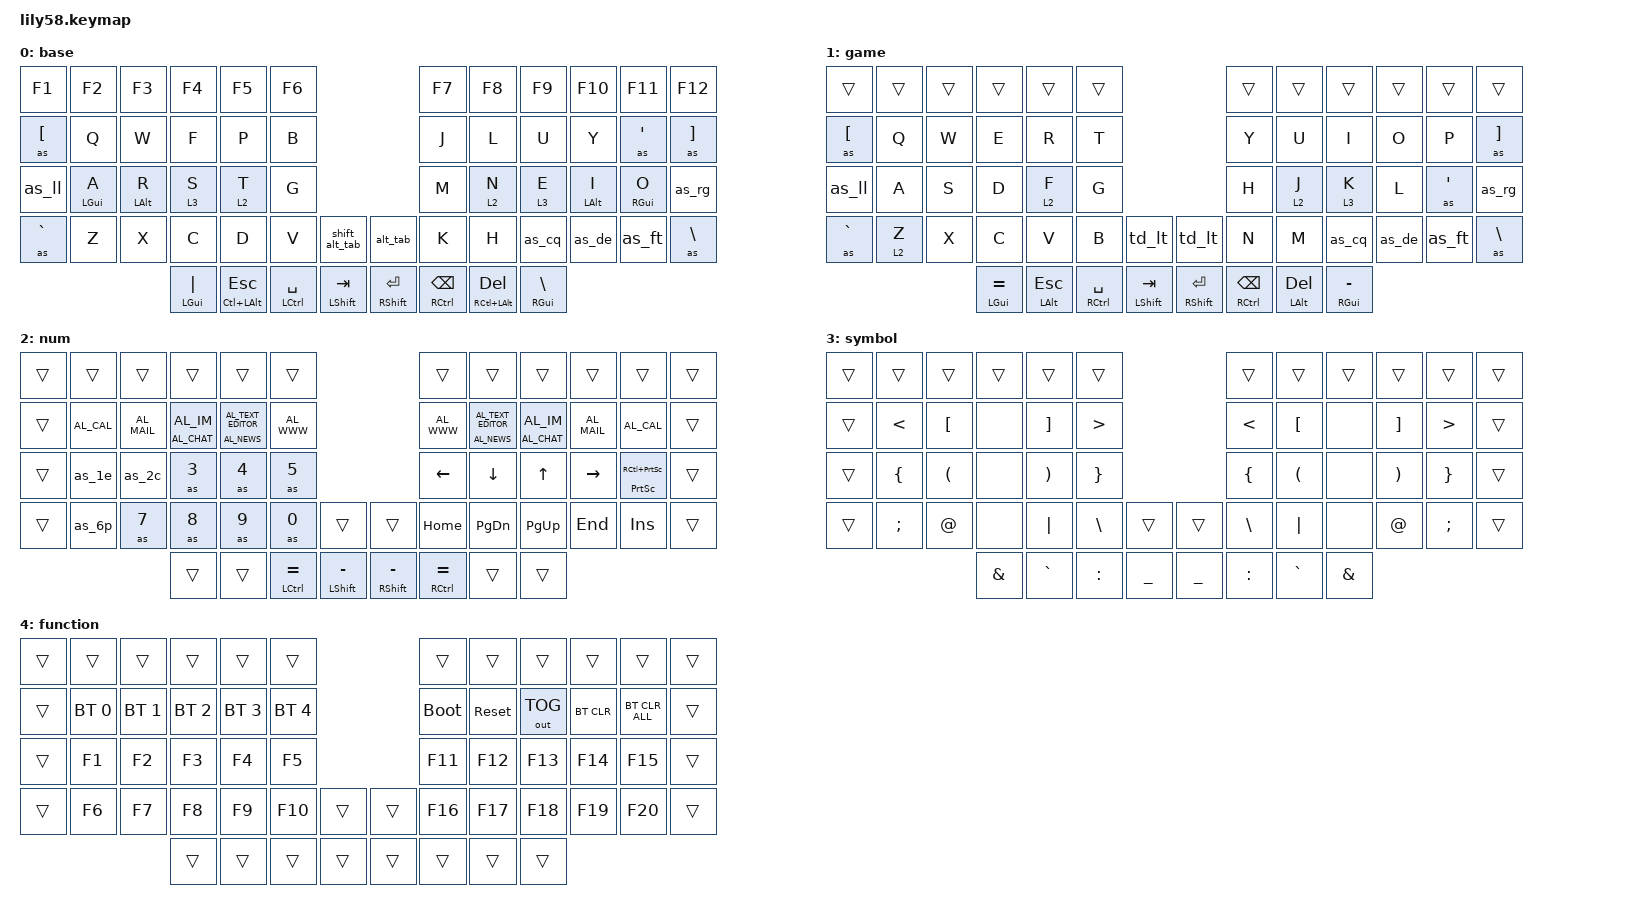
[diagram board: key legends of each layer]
// dt-formatter: multilineListCommaStyle="leading"

#include <dt-bindings/zmk/mouse.h>
#include <behaviors.dtsi>
#include <dt-bindings/zmk/bt.h>
#include <dt-bindings/zmk/keys.h>
#include <dt-bindings/zmk/outputs.h>

&lt {
    tapping-term-ms = <150>;
    quick-tap-ms = <200>;
    flavor = "balanced";
    require-prior-idle-ms = <125>;
};

&mt {
    tapping-term-ms = <150>;
    quick-tap-ms = <200>;
    flavor = "balanced";
    require-prior-idle-ms = <125>;
};

/ {
    behaviors {
        hml: home_row_mod_left {
            display-name = "Home Row Mod (Left)";
            compatible = "zmk,behavior-hold-tap";
            #binding-cells = <2>;
            bindings = <&kp>, <&kp>;

            tapping-term-ms = <280>;
            quick-tap-ms = <175>;
            require-prior-idle-ms = <150>;
            flavor = "balanced";
            hold-trigger-on-release;
            hold-trigger-key-positions = <5 7 6 8 9 19 30 31 18 17 16 15 26 28 27 29 37 36 35 34 33 32>;
        };

        hmr: home_row_mod_right {
            display-name = "Home Row Mod (Right)";
            compatible = "zmk,behavior-hold-tap";
            bindings = <&kp>, <&kp>;

            #binding-cells = <2>;
            tapping-term-ms = <280>;
            quick-tap-ms = <175>;
            require-prior-idle-ms = <150>;
            flavor = "balanced";
            hold-trigger-on-release;
            hold-trigger-key-positions = <0 1 2 3 4 14 13 12 11 10 20 21 22 23 24 25 32 33 34 35 36 37>;
        };

        hll: home_row_layer_tap_left {
            compatible = "zmk,behavior-hold-tap";
            bindings = <&mo>, <&kp>;

            #binding-cells = <2>;
            tapping-term-ms = <280>;
            quick-tap-ms = <175>;
            require-prior-idle-ms = <150>;
            flavor = "balanced";
            hold-trigger-on-release;
            hold-trigger-key-positions = <5 6 7 9 31 19 29 18 17 8 16 15 26 27 28 30 37 36 35 34 33 32>;
        };

        hlr: home_row_layer_tap_right {
            compatible = "zmk,behavior-hold-tap";
            bindings = <&mo>, <&kp>;

            #binding-cells = <2>;
            tapping-term-ms = <280>;
            quick-tap-ms = <175>;
            require-prior-idle-ms = <150>;
            flavor = "balanced";
            hold-trigger-on-release;
            hold-trigger-key-positions = <4 3 2 1 0 20 10 11 21 12 13 14 23 22 24 25 32 33 34 35 36 37>;
        };

        mm_cq: mod_morph_cmma_qmark {
            display-name = "Comma-Question Mark";
            compatible = "zmk,behavior-mod-morph";
            #binding-cells = <0>;
            bindings = <&kp COMMA>, <&kp QMARK>;

            mods = <(MOD_LSFT|MOD_RSFT)>;
        };

        mm_de: mod_morph_dot_excl {
            display-name = "Period-Exclamation Mark";
            compatible = "zmk,behavior-mod-morph";
            #binding-cells = <0>;
            bindings = <&kp DOT>, <&kp EXCL>;

            mods = <(MOD_LSFT|MOD_RSFT)>;
        };

        mm_ft: mod_morph_fslh_tild {
            display-name = "Forward Slash-Tilde";
            compatible = "zmk,behavior-mod-morph";
            #binding-cells = <0>;
            bindings = <&kp FSLH>, <&kp TILDE>;

            mods = <(MOD_LSFT|MOD_RSFT)>;
        };

        mm_ll: mod_morph_lpar_lt {
            compatible = "zmk,behavior-mod-morph";
            bindings = <&kp LPAR>, <&kp LT>;

            #binding-cells = <0>;
            mods = <(MOD_LSFT|MOD_RSFT)>;
        };

        mm_rg: mod_morph_rpar_gt {
            compatible = "zmk,behavior-mod-morph";
            bindings = <&kp RPAR>, <&kp GT>;

            #binding-cells = <0>;
            mods = <(MOD_LSFT|MOD_RSFT)>;
        };

        ht_as: hold_tap_autoshift {
            compatible = "zmk,behavior-hold-tap";
            bindings = <&sh>, <&kp>;

            #binding-cells = <2>;
            tapping-term-ms = <150>;
            quick-tap-ms = <200>;
            require-prior-idle-ms = <125>;
            flavor = "tap-preferred";
        };

        ht_cq: hold_tap_cmma_qmark {
            display-name = "Comma-Question Mark (Hold-Tap)";
            compatible = "zmk,behavior-hold-tap";
            #binding-cells = <2>;
            bindings = <&kp>, <&mm_cq>;

            tapping-term-ms = <150>;
            quick-tap-ms = <0>;
            flavor = "tap-preferred";
        };

        ht_de: hold_tap_dot_excl {
            display-name = "Period-Exclamation Mark (Hold-Tap)";
            compatible = "zmk,behavior-hold-tap";
            #binding-cells = <2>;
            bindings = <&kp>, <&mm_de>;

            tapping-term-ms = <150>;
            quick-tap-ms = <0>;
            flavor = "tap-preferred";
        };

        ht_ft: hold_tap_fslh_tild {
            display-name = "Forward Slash-Tilde (Hold-Tap)";
            compatible = "zmk,behavior-hold-tap";
            #binding-cells = <2>;
            bindings = <&kp>, <&mm_ft>;

            tapping-term-ms = <150>;
            quick-tap-ms = <0>;
            flavor = "tap-preferred";
        };

        ht_ll: hold_tap_lpar_lt {
            compatible = "zmk,behavior-hold-tap";
            bindings = <&kp>, <&mm_ll>;

            #binding-cells = <2>;
            tapping-term-ms = <150>;
            quick-tap-ms = <0>;
            flavor = "tap-preferred";
        };

        ht_rg: hold_tap_rpar_gt {
            compatible = "zmk,behavior-hold-tap";
            bindings = <&kp>, <&mm_rg>;

            #binding-cells = <2>;
            tapping-term-ms = <150>;
            quick-tap-ms = <0>;
            flavor = "tap-preferred";
        };

        mm_aa: mod_morph_at_amps {
            compatible = "zmk,behavior-mod-morph";
            bindings = <&kp AT>, <&kp AMPS>;

            #binding-cells = <0>;
            mods = <(MOD_LSFT|MOD_RSFT)>;
        };

        ht_aa: hold_tap_at_amps {
            compatible = "zmk,behavior-hold-tap";
            bindings = <&kp>, <&mm_aa>;

            #binding-cells = <2>;
            tapping-term-ms = <150>;
            quick-tap-ms = <0>;
            flavor = "tap-preferred";
        };

        mm_mh: mod_morph_minus_hash {
            compatible = "zmk,behavior-mod-morph";
            bindings = <&kp MINUS>, <&kp HASH>;

            #binding-cells = <0>;
            mods = <(MOD_LSFT|MOD_RSFT)>;
        };

        ht_mh: hold_tap_minus_hash {
            compatible = "zmk,behavior-hold-tap";
            bindings = <&kp>, <&mm_mh>;

            #binding-cells = <2>;
            tapping-term-ms = <150>;
            quick-tap-ms = <0>;
            flavor = "tap-preferred";
        };

        mm_sp: mod_morph_star_prcnt {
            compatible = "zmk,behavior-mod-morph";
            bindings = <&kp STAR>, <&kp PRCNT>;

            #binding-cells = <0>;
            mods = <(MOD_LSFT|MOD_RSFT)>;
        };

        ht_sp: hold_tap_star_prcnt {
            compatible = "zmk,behavior-hold-tap";
            bindings = <&kp>, <&mm_sp>;

            #binding-cells = <2>;
            tapping-term-ms = <150>;
            quick-tap-ms = <0>;
            flavor = "tap-preferred";
        };

        mm_1e: mod_morph_1_equal {
            compatible = "zmk,behavior-mod-morph";
            bindings = <&kp N1>, <&kp EQUAL>;

            #binding-cells = <0>;
            mods = <(MOD_LSFT|MOD_RSFT)>;
        };

        ht_1e: hold_tap_1_equal {
            compatible = "zmk,behavior-hold-tap";
            bindings = <&kp>, <&mm_1e>;

            #binding-cells = <2>;
            tapping-term-ms = <150>;
            quick-tap-ms = <0>;
            flavor = "tap-preferred";
        };

        mm_2c: mod_morph_2_caret {
            compatible = "zmk,behavior-mod-morph";
            bindings = <&kp N2>, <&kp CARET>;

            #binding-cells = <0>;
            mods = <(MOD_LSFT|MOD_RSFT)>;
        };

        ht_2c: hold_tap_2_caret {
            compatible = "zmk,behavior-hold-tap";
            bindings = <&kp>, <&mm_2c>;

            #binding-cells = <2>;
            tapping-term-ms = <150>;
            quick-tap-ms = <0>;
            flavor = "tap-preferred";
        };

        mm_6p: mod_morph_6_plus {
            compatible = "zmk,behavior-mod-morph";
            bindings = <&kp N6>, <&kp PLUS>;

            #binding-cells = <0>;
            mods = <(MOD_LSFT|MOD_RSFT)>;
        };

        ht_6p: hold_tap_6_plus {
            compatible = "zmk,behavior-hold-tap";
            bindings = <&kp>, <&mm_6p>;

            #binding-cells = <2>;
            tapping-term-ms = <150>;
            quick-tap-ms = <0>;
            flavor = "tap-preferred";
            label = "HT_6P";
        };

        td_lt: tap_dance_layer_toggle {
            compatible = "zmk,behavior-tap-dance";
            #binding-cells = <0>;
            bindings = <&sl 2>, <&sl 3>;
        };
    };

    macros {
        as: autoshift {
            display-name = "Autoshift";
            compatible = "zmk,behavior-macro-one-param";
            #binding-cells = <1>;
            bindings
                = <&macro_press>
                , <&macro_param_1to1 &macro_param_1to2 &ht_as MACRO_PLACEHOLDER MACRO_PLACEHOLDER>
                , <&macro_pause_for_release>
                , <&macro_release>
                , <&macro_param_1to1 &macro_param_1to2 &ht_as MACRO_PLACEHOLDER MACRO_PLACEHOLDER>
                ;
        };

        sh: shifted_keypress {
            display-name = "Shifted Keypress";
            compatible = "zmk,behavior-macro-one-param";
            #binding-cells = <1>;
            bindings
                = <&macro_press>
                , <&kp LSHFT &macro_param_1to1 &kp MACRO_PLACEHOLDER>
                , <&macro_pause_for_release>
                , <&macro_release>
                , <&macro_param_1to1 &kp MACRO_PLACEHOLDER &kp LSHFT>
                ;
        };

        as_cq: autoshift_cmma_qmark {
            display-name = "Comma-Question Mark (Autoshift)";
            compatible = "zmk,behavior-macro";
            #binding-cells = <0>;
            bindings
                = <&macro_press>
                , <&ht_cq QMARK 0>
                , <&macro_pause_for_release>
                , <&macro_release>
                , <&ht_cq QMARK 0>
                ;
        };

        as_de: autoshift_dot_excl {
            display-name = "Period-Exclamation Mark (Autoshift)";
            compatible = "zmk,behavior-macro";
            #binding-cells = <0>;
            bindings
                = <&macro_press>
                , <&ht_de EXCL 0>
                , <&macro_pause_for_release>
                , <&macro_release>
                , <&ht_de EXCL 0>
                ;
        };

        as_ft: autoshift_fslh_tild {
            display-name = "Forward Slash-Tilde (Autoshift)";
            compatible = "zmk,behavior-macro";
            #binding-cells = <0>;
            bindings
                = <&macro_press>
                , <&ht_ft TILDE 0>
                , <&macro_pause_for_release>
                , <&macro_release>
                , <&ht_ft TILDE 0>
                ;
        };

        as_ll: autoshift_lpar_lt {
            display-name = "Left Parenthesis-Less Than (Autoshift)";
            compatible = "zmk,behavior-macro";
            #binding-cells = <0>;
            bindings
                = <&macro_press>
                , <&ht_ll LT 0>
                , <&macro_pause_for_release>
                , <&macro_release>
                , <&ht_ll LT 0>
                ;
        };

        as_rg: autoshift_rpar_gt {
            display-name = "Right Parenthesis-Greater Than (Autoshift)";
            compatible = "zmk,behavior-macro";
            #binding-cells = <0>;
            bindings
                = <&macro_press>
                , <&ht_rg GT 0>
                , <&macro_pause_for_release>
                , <&macro_release>
                , <&ht_rg GT 0>
                ;
        };

        alt_tab: alt_tab {
            compatible = "zmk,behavior-macro";
            #binding-cells = <0>;
            bindings
                = <&macro_press>
                , <&kp LALT>
                , <&macro_tap>
                , <&kp TAB>
                , <&macro_pause_for_release>
                , <&macro_release>
                , <&kp LALT>
                ;

            label = "ALT_TAB";
        };

        shift_alt_tab: shift_alt_tab {
            compatible = "zmk,behavior-macro";
            #binding-cells = <0>;
            bindings
                = <&macro_press>
                , <&kp LS(LALT)>
                , <&macro_tap>
                , <&kp TAB>
                , <&macro_pause_for_release>
                , <&macro_release>
                , <&kp LS(LALT)>
                ;

            label = "SHIFT_ALT_TAB";
        };

        as_aa: autoshift_at_amps {
            compatible = "zmk,behavior-macro";
            #binding-cells = <0>;
            bindings
                = <&macro_press>
                , <&ht_aa AMPS 0>
                , <&macro_pause_for_release>
                , <&macro_release>
                , <&ht_aa AMPS 0>
                ;
        };

        as_mh: autoshift_minus_hash {
            compatible = "zmk,behavior-macro";
            #binding-cells = <0>;
            bindings
                = <&macro_press>
                , <&ht_mh HASH 0>
                , <&macro_pause_for_release>
                , <&macro_release>
                , <&ht_mh HASH 0>
                ;
        };

        as_sp: autoshift_star_prcnt {
            compatible = "zmk,behavior-macro";
            #binding-cells = <0>;
            bindings
                = <&macro_press>
                , <&ht_sp PRCNT 0>
                , <&macro_pause_for_release>
                , <&macro_release>
                , <&ht_sp PRCNT 0>
                ;
        };

        as_1e: autoshift_1_equal {
            compatible = "zmk,behavior-macro";
            #binding-cells = <0>;
            bindings
                = <&macro_press>
                , <&ht_1e EQUAL 0>
                , <&macro_pause_for_release>
                , <&macro_release>
                , <&ht_1e EQUAL 0>
                ;
        };

        as_2c: autoshift_2_caret {
            compatible = "zmk,behavior-macro";
            #binding-cells = <0>;
            bindings
                = <&macro_press>
                , <&ht_2c CARET 0>
                , <&macro_pause_for_release>
                , <&macro_release>
                , <&ht_2c CARET 0>
                ;
        };

        as_6p: as_6p {
            compatible = "zmk,behavior-macro";
            #binding-cells = <0>;
            bindings
                = <&macro_press>
                , <&ht_6p PLUS 0>
                , <&macro_pause_for_release>
                , <&macro_release>
                , <&ht_6p PLUS 0>
                ;

            label = "AS_6P";
        };
    };

    combos {
        compatible = "zmk,combos";

        to_base {
            bindings = <&to 0>;
            key-positions = <0 1>;
            layers = <1 2 3 4>;
        };

        to_game {
            bindings = <&to 1>;
            key-positions = <2 1>;
            layers = <0>;
        };

        l_fun {
            bindings = <&sl 4>;
            key-positions = <2 4>;
            layers = <0>;
        };

        r_fun {
            bindings = <&sl 4>;
            key-positions = <7 9>;
            layers = <0>;
        };

        l_launcher {
            bindings = <&kp LG(SPACE)>;
            key-positions = <26 28>;
        };

        r_launcher {
            bindings = <&kp RG(SPACE)>;
            key-positions = <31 33>;
        };
    };

    keymap {
        compatible = "zmk,keymap";

        base {
            display-name = "base";

            // ┏━━━━━━━┳━━━━━━━┳━━━━━━━┳━━━━━━━┳━━━━━━━┳━━━━━━━┓                 ┏━━━━━━━┳━━━━━━━┳━━━━━━━┳━━━━━━━┳━━━━━━━┳━━━━━━━┓
            // ┃   -   ┃   1   ┃   2   ┃   3   ┃   4   ┃   5   ┃                 ┃   6   ┃   7   ┃   8   ┃   9   ┃   0   ┃   =   ┃
            // ┣━━━━━━━┣━━━━━━━╋━━━━━━━╋━━━━━━━╋━━━━━━━╋━━━━━━━┫                 ┣━━━━━━━╋━━━━━━━╋━━━━━━━╋━━━━━━━╋━━━━━━━╋━━━━━━━┫
            // ┃   [   ┃   Q   ┃   W   ┃   F   ┃   P   ┃   B   ┃                 ┃   J   ┃   L   ┃   U   ┃   Y   ┃   '   ┃   ]   ┃
            // ┣━━━━━━━┣━━━━━━━╋━━━━━━━╋━━━━━━━╋━━━━━━━╋━━━━━━━┫                 ┣━━━━━━━╋━━━━━━━╋━━━━━━━╋━━━━━━━╋━━━━━━━╋━━━━━━━┫
            // ┃   (   ┃   A   ┃   R   ┃   S   ┃   T   ┃   G   ┃                 ┃   M   ┃   N   ┃   E   ┃   I   ┃   O   ┃   )   ┃
            // ╋━━━━━━━╋━━━━━━━╋━━━━━━━╋━━━━━━━╋━━━━━━━╋━━━━━━━╋━━━━━━━┓ ┏━━━━━━━╋━━━━━━━╋━━━━━━━╋━━━━━━━╋━━━━━━━╋━━━━━━━╋━━━━━━━┫
            // ┃   `   ┃   Z   ┃   X   ┃   C   ┃   D   ┃   V   ┃ ⌥-TAB ┃ ┃ ⌘-SPC ┃   K   ┃   H   ┃   ,   ┃   .   ┃   /   ┃   \   ┃
            // ┗━━━━━━━┻━━━━━━━┻━━━━━━━╋━━━━━━━╋━━━━━━━╋━━━━━━━╋━━━━━━━┫ ┣━━━━━━━╋━━━━━━━╋━━━━━━━╋━━━━━━━╋━━━━━━━┻━━━━━━━┻━━━━━━━┛
            //                         ┃   |   ┃  ESC  ┃  SPC  ┃  TAB  ┃ ┃  RET  ┃  BSP  ┃  DEL  ┃   \   ┃
            //                         ┃ (GUI) ┃ (ALT) ┃ (CTL) ┃ (SFT) ┃ ┃ (SFT) ┃ (CTL) ┃ (ALT) ┃ (GUI) ┃
            //                         ┗━━━━━━━┻━━━━━━━┻━━━━━━━┻━━━━━━━┛ ┗━━━━━━━┻━━━━━━━┻━━━━━━━┻━━━━━━━┛

            bindings = <
&kp F1     &kp F2       &kp F3       &kp F4         &kp F5            &kp F6                                            &kp F7          &kp F8            &kp F9         &kp F10      &kp F11      &kp F12
&as LBKT   &kp Q        &kp W        &kp F          &kp P             &kp B                                             &kp J           &kp L             &kp U          &kp Y        &as SQT      &as RBKT
&as_ll     &hml LGUI A  &hml LALT R  &hll 3 S       &hll 2 T          &kp G                                             &kp M           &hlr 2 N          &hlr 3 E       &hmr LALT I  &hmr RGUI O  &as_rg
&as GRAVE  &kp Z        &kp X        &kp C          &kp D             &kp V            &shift_alt_tab    &alt_tab       &kp K           &kp H             &as_cq         &as_de       &as_ft       &as BSLH
                                     &mt LGUI PIPE  &mt LC(LALT) ESC  &mt LCTRL SPACE  &mt LSHFT TAB     &mt RSHFT RET  &mt RCTRL BSPC  &mt RC(LALT) DEL  &mt RGUI BSLH
            >;
        };

        game {
            display-name = "game";

            // ┏━━━━━━━┳━━━━━━━┳━━━━━━━┳━━━━━━━┳━━━━━━━┳━━━━━━━┓                 ┏━━━━━━━┳━━━━━━━┳━━━━━━━┳━━━━━━━┳━━━━━━━┳━━━━━━━┓
            // ┃   -   ┃   1   ┃   2   ┃   3   ┃   4   ┃   5   ┃                 ┃   6   ┃   7   ┃   8   ┃   9   ┃   0   ┃   =   ┃
            // ┣━━━━━━━┣━━━━━━━╋━━━━━━━╋━━━━━━━╋━━━━━━━╋━━━━━━━┫                 ┣━━━━━━━╋━━━━━━━╋━━━━━━━╋━━━━━━━╋━━━━━━━╋━━━━━━━┫
            // ┃   [   ┃   Q   ┃   W   ┃   E   ┃   R   ┃   T   ┃                 ┃   Y   ┃   U   ┃   I   ┃   O   ┃   P   ┃   ]   ┃
            // ┣━━━━━━━┣━━━━━━━╋━━━━━━━╋━━━━━━━╋━━━━━━━╋━━━━━━━┫                 ┣━━━━━━━╋━━━━━━━╋━━━━━━━╋━━━━━━━╋━━━━━━━╋━━━━━━━┫
            // ┃   (   ┃   A   ┃   S   ┃   D   ┃   F   ┃   G   ┃                 ┃   H   ┃   J   ┃   K   ┃   L   ┃   '   ┃   )   ┃
            // ╋━━━━━━━╋━━━━━━━╋━━━━━━━╋━━━━━━━╋━━━━━━━╋━━━━━━━╋━━━━━━━┓ ┏━━━━━━━╋━━━━━━━╋━━━━━━━╋━━━━━━━╋━━━━━━━╋━━━━━━━╋━━━━━━━┫
            // ┃   `   ┃   Z   ┃   X   ┃   C   ┃   V   ┃   B   ┃ ⌥-TAB ┃ ┃ ⌘-SPC ┃   N   ┃   M   ┃   ,   ┃   .   ┃   /   ┃   \   ┃
            // ┗━━━━━━━┻━━━━━━━┻━━━━━━━╋━━━━━━━╋━━━━━━━╋━━━━━━━╋━━━━━━━┫ ┣━━━━━━━╋━━━━━━━╋━━━━━━━╋━━━━━━━╋━━━━━━━┻━━━━━━━┻━━━━━━━┛
            //                         ┃   =   ┃  ESC  ┃ SPACE ┃  TAB  ┃ ┃  RET  ┃  BSPC ┃  DEL  ┃   -   ┃
            //                         ┃ (GUI) ┃ (ALT) ┃ (CTL) ┃ (SFT) ┃ ┃ (SFT) ┃ (CTL) ┃ (ALT) ┃ (GUI) ┃
            //                         ┗━━━━━━━┻━━━━━━━┻━━━━━━━┻━━━━━━━┛ ┗━━━━━━━┻━━━━━━━┻━━━━━━━┻━━━━━━━┛

            bindings = <
&trans     &trans    &trans  &trans          &trans        &trans                                           &trans          &trans        &trans          &trans  &trans   &trans
&as LBKT   &kp Q     &kp W   &kp E           &kp R         &kp T                                            &kp Y           &kp U         &kp I           &kp O   &kp P    &as RBKT
&as_ll     &kp A     &kp S   &kp D           &hll 2 F      &kp G                                            &kp H           &hlr 2 J      &hlr 3 K        &kp L   &as SQT  &as_rg
&as GRAVE  &hll 2 Z  &kp X   &kp C           &kp V         &kp B            &td_lt           &td_lt         &kp N           &kp M         &as_cq          &as_de  &as_ft   &as BSLH
                             &mt LGUI EQUAL  &mt LALT ESC  &mt RCTRL SPACE  &mt LSHFT TAB    &mt RSHFT RET  &mt RCTRL BSPC  &mt LALT DEL  &mt RGUI MINUS
            >;
        };

        num {
            display-name = "num";

            // ┏━━━━━━━┳━━━━━━━┳━━━━━━━┳━━━━━━━┳━━━━━━━┳━━━━━━━┓                 ┏━━━━━━━┳━━━━━━━┳━━━━━━━┳━━━━━━━┳━━━━━━━┳━━━━━━━┓
            // ┃       ┃       ┃       ┃       ┃       ┃       ┃                 ┃   6   ┃   7   ┃   8   ┃   9   ┃   0   ┃   =   ┃
            // ┣━━━━━━━┣━━━━━━━╋━━━━━━━╋━━━━━━━╋━━━━━━━╋━━━━━━━┫                 ┣━━━━━━━╋━━━━━━━╋━━━━━━━╋━━━━━━━╋━━━━━━━╋━━━━━━━┫
            // ┃       ┃   ^   ┃   *   ┃   +   ┃   #   ┃   $   ┃                 ┃   &   ┃   [   ┃   #   ┃   ]   ┃   `   ┃   ]   ┃
            // ┣━━━━━━━┣━━━━━━━╋━━━━━━━╋━━━━━━━╋━━━━━━━╋━━━━━━━┫                 ┣━━━━━━━╋━━━━━━━╋━━━━━━━╋━━━━━━━╋━━━━━━━╋━━━━━━━┫
            // ┃       ┃   1   ┃   2   ┃   3   ┃   4   ┃   5   ┃                 ┃   |   ┃   (   ┃   @   ┃   )   ┃   :   ┃   )   ┃
            // ╋━━━━━━━╋━━━━━━━╋━━━━━━━╋━━━━━━━╋━━━━━━━╋━━━━━━━╋━━━━━━━┓ ┏━━━━━━━╋━━━━━━━╋━━━━━━━╋━━━━━━━╋━━━━━━━╋━━━━━━━╋━━━━━━━┫
            // ┃       ┃   6   ┃   7   ┃   8   ┃   9   ┃   0   ┃ ⌥-TAB ┃ ┃ ⌘-SPC ┃   \   ┃   {   ┃   %   ┃   }   ┃   ;   ┃   \   ┃
            // ┗━━━━━━━┻━━━━━━━┻━━━━━━━╋━━━━━━━╋━━━━━━━╋━━━━━━━╋━━━━━━━┫ ┣━━━━━━━╋━━━━━━━╋━━━━━━━╋━━━━━━━╋━━━━━━━┻━━━━━━━┻━━━━━━━┛
            //                         ┃       ┃   %   ┃   =   ┃   -   ┃ ┃   _   ┃   ^   ┃   $   ┃   -   ┃
            //                         ┃ (GUI) ┃ (ALT) ┃ (CTL) ┃ (SFT) ┃ ┃ (SFT) ┃ (CTL) ┃ (ALT) ┃ (GUI) ┃
            //                         ┗━━━━━━━┻━━━━━━━┻━━━━━━━┻━━━━━━━┛ ┗━━━━━━━┻━━━━━━━┻━━━━━━━┻━━━━━━━┛

            bindings = <
&trans  &trans        &trans         &trans                 &trans                          &trans                                               &trans           &trans                          &trans                 &trans         &trans               &trans
&trans  &kp C_AL_CAL  &kp C_AL_MAIL  &mt C_AL_CHAT C_AL_IM  &mt C_AL_NEWS C_AL_TEXT_EDITOR  &kp C_AL_WWW                                         &kp C_AL_WWW     &mt C_AL_NEWS C_AL_TEXT_EDITOR  &mt C_AL_CHAT C_AL_IM  &kp C_AL_MAIL  &kp C_AL_CAL         &trans
&trans  &as_1e        &as_2c         &as N3                 &as N4                          &as N5                                               &kp LEFT         &kp DOWN                        &kp UP                 &kp RIGHT      &mt PSCRN RC(PSCRN)  &trans
&trans  &as_6p        &as N7         &as N8                 &as N9                          &as N0           &trans             &trans           &kp HOME         &kp PG_DN                       &kp PG_UP              &kp END        &kp INS              &trans
                                     &trans                 &trans                          &mt LCTRL EQUAL  &mt LSHFT MINUS    &mt RSHFT MINUS  &mt RCTRL EQUAL  &trans                          &trans
            >;
        };

        sym {
            display-name = "nav";

            // ┏━━━━━━━┳━━━━━━━┳━━━━━━━┳━━━━━━━┳━━━━━━━┳━━━━━━━┓                 ┏━━━━━━━┳━━━━━━━┳━━━━━━━┳━━━━━━━┳━━━━━━━┳━━━━━━━┓
            // ┃       ┃       ┃       ┃       ┃       ┃       ┃                 ┃       ┃       ┃       ┃       ┃       ┃       ┃
            // ┣━━━━━━━╋━━━━━━━╋━━━━━━━╋━━━━━━━╋━━━━━━━╋━━━━━━━┫                 ┣━━━━━━━╋━━━━━━━╋━━━━━━━╋━━━━━━━╋━━━━━━━╋━━━━━━━┫
            // ┃       ┃   <   ┃   [   ┃       ┃   ]   ┃   >   ┃                 ┃   <   ┃   [   ┃       ┃   ]   ┃   >   ┃       ┃
            // ┣━━━━━━━╋━━━━━━━╋━━━━━━━╋━━━━━━━╋━━━━━━━╋━━━━━━━┫                 ┣━━━━━━━╋━━━━━━━╋━━━━━━━╋━━━━━━━╋━━━━━━━╋━━━━━━━┫
            // ┃       ┃   {   ┃   (   ┃       ┃   )   ┃   }   ┃                 ┃   {   ┃   (   ┃       ┃   )   ┃   }   ┃       ┃
            // ┣━━━━━━━╋━━━━━━━╋━━━━━━━╋━━━━━━━╋━━━━━━━╋━━━━━━━╋━━━━━━━┓ ┏━━━━━━━╋━━━━━━━╋━━━━━━━╋━━━━━━━╋━━━━━━━╋━━━━━━━╋━━━━━━━┫
            // ┃       ┃   ;   ┃   `   ┃       ┃   |   ┃   \   ┃ ⌥-TAB ┃ ┃ ⌘-SPC ┃   ;   ┃   `   ┃       ┃   |   ┃   \   ┃       ┃
            // ┗━━━━━━━┻━━━━━━━┻━━━━━━━╋━━━━━━━╋━━━━━━━╋━━━━━━━╋━━━━━━━┫ ┣━━━━━━━╋━━━━━━━╋━━━━━━━╋━━━━━━━╋━━━━━━━┻━━━━━━━┻━━━━━━━┛
            //                         ┃       ┃   @   ┃   :   ┃   _   ┃ ┃  RET  ┃  BSPC ┃  DEL  ┃   -   ┃
            //                         ┃ (GUI) ┃ (ALT) ┃ (CTL) ┃ (SFT) ┃ ┃ (SFT) ┃ (CTL) ┃ (ALT) ┃ (GUI) ┃
            //                         ┗━━━━━━━┻━━━━━━━┻━━━━━━━┻━━━━━━━┛ ┗━━━━━━━┻━━━━━━━┻━━━━━━━┻━━━━━━━┛

            bindings = <
&trans  &trans    &trans    &trans    &trans     &trans                             &trans     &trans     &trans    &trans    &trans    &trans
&trans  &kp LT    &kp LBKT  &none     &kp RBKT   &kp GT                             &kp LT     &kp LBKT   &none     &kp RBKT  &kp GT    &trans
&trans  &kp LBRC  &kp LPAR  &none     &kp RPAR   &kp RBRC                           &kp LBRC   &kp LPAR   &none     &kp RPAR  &kp RBRC  &trans
&trans  &kp SEMI  &kp AT    &none     &kp PIPE   &kp BSLH   &trans       &trans     &kp BSLH   &kp PIPE   &none     &kp AT    &kp SEMI  &trans
                            &kp AMPS  &kp GRAVE  &kp COLON  &kp UNDER    &kp UNDER  &kp COLON  &kp GRAVE  &kp AMPS
            >;

            display-name = "symbol";
        };

        fun {
            bindings = <
&trans  &trans        &trans        &trans        &trans        &trans                          &trans       &trans      &trans        &trans      &trans          &trans
&trans  &bt BT_SEL 0  &bt BT_SEL 1  &bt BT_SEL 2  &bt BT_SEL 3  &bt BT_SEL 4                    &bootloader  &sys_reset  &out OUT_TOG  &bt BT_CLR  &bt BT_CLR_ALL  &trans
&trans  &kp F1        &kp F2        &kp F3        &kp F4        &kp F5                          &kp F11      &kp F12     &kp F13       &kp F14     &kp F15         &trans
&trans  &kp F6        &kp F7        &kp F8        &kp F9        &kp F10       &trans    &trans  &kp F16      &kp F17     &kp F18       &kp F19     &kp F20         &trans
                                    &trans        &trans        &trans        &trans    &trans  &trans       &trans      &trans
            >;

            display-name = "function";
        };
    };
};
